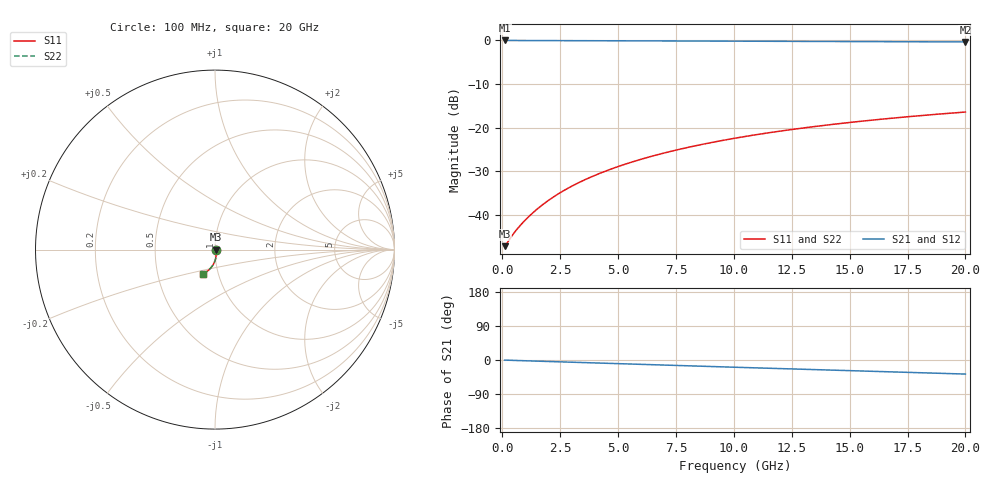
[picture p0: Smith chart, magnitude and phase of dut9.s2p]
! Touchstone file exported from HFSS 2026.1.0
!  File:  C:/ffzhzh/LocalFiles/Ansys_Project_Files/temp_train_TMRDL_9_1782879969_19016.aedt
!  Generated:  12:28:55 PM Jul  1, 2026
!  Design:  TMRDL
!  Project:  temp_train_TMRDL_9_1782879969_19016
! Variables:
!  h_bsmrdl = 2um
!  h_ox = 20um
!  h_rdl = 5um
!  h_sub = 80um
!  h_tmrdl = 4.3um
!  h_tsv = 80um
!  h_via = 3um
!  l_bsmrdl = 300um
!  l_sub = 1050.27um
!  l_tmrdl = 650.27um
!  m_sub = 200um
!  pitch = 14.65um
!  r_tsv = 6um
!  s_tmrdl = 10um
!  w_bsmrdl = 18um
!  w_sub = 500um
!  w_tmrdl = 12.6um
!  x_tsv_center1 = 656.57um
!  x_tsv_center2 = 974.57um
!  x_tsv_center3 = 1637.44um
!  x_tsv_center4 = 1955.44um
!  x_tsv_center5 = 2618.31um
!  x_tsv_center6 = 2936.31um
# GHz S MA R 50.000000
! Terminal data exported
! Port[1] = TM_RDL1_1_T1
! Port[2] = TM_RDL1_1_T2
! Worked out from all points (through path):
!   200 points, 100 MHz to 20 GHz, reference 50 ohm
!   highest |S21| = -0.04 dB at 100 MHz (marker M1); lowest = -0.4 dB at 20 GHz (marker M2)
!   group delay of S21, straight-line fit = 5.13 ps
!   lowest |S11| = -47.1 dB at 100 MHz (marker M3), VSWR 1.01, Z = 50.4 - j0.00079 ohm
!   |S11| at or under -10 dB: start of sweep to end of sweep
!   |S22| runs from -47.1 to -16.4 dB; largest |S21 - S12| = 3.4e-15
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0.1  0.004401 -0.1  0.9956 -0.2  0.9956 -0.2  0.004401 -0.1
! Gamma 0 0 0 0
! Port Impedance 50 0 50 0
0.2  0.004746 -1.9  0.9953 -0.5  0.9953 -0.5  0.004746 -1.9
0.5  0.006201 -15.3  0.994 -1.1  0.994 -1.1  0.006201 -15.3
0.7  0.007217 -25.1  0.9934 -1.5  0.9934 -1.5  0.007217 -25.1
1.1  0.00935 -40.5  0.9926 -2.2  0.9926 -2.2  0.00935 -40.5
1.5  0.01166 -50.9  0.9921 -3.0  0.9921 -3.0  0.01166 -50.9
1.9  0.01411 -58.0  0.9917 -3.8  0.9917 -3.8  0.01412 -58.0
2.4  0.01734 -64.3  0.9911 -4.7  0.9911 -4.7  0.01734 -64.3
2.9  0.0207 -68.8  0.9904 -5.7  0.9904 -5.7  0.0207 -68.8
3.5  0.02488 -72.8  0.9895 -6.9  0.9895 -6.9  0.02488 -72.8
4.2  0.02992 -76.3  0.9884 -8.2  0.9884 -8.2  0.02992 -76.3
5  0.03587 -79.6  0.987 -9.7  0.987 -9.7  0.03587 -79.6
5.9  0.04275 -82.8  0.9854 -11.4  0.9854 -11.4  0.04276 -82.8
6.8  0.04979 -85.6  0.9837 -13.1  0.9837 -13.1  0.04979 -85.6
7.6  0.05613 -87.9  0.9821 -14.6  0.9821 -14.6  0.05614 -87.9
8.4  0.06252 -90.1  0.9806 -16.1  0.9806 -16.1  0.06253 -90.1
10.1  0.07617 -94.4  0.9773 -19.2  0.9773 -19.2  0.07618 -94.4
11.7  0.08894 -98.3  0.9742 -22.1  0.9742 -22.1  0.08896 -98.3
13.4  0.1023 -102.3  0.9709 -25.2  0.9709 -25.2  0.1024 -102.3
15  0.1147 -105.8  0.9677 -28.1  0.9677 -28.1  0.1147 -105.8
16.7  0.1274 -109.5  0.9643 -31.2  0.9643 -31.2  0.1275 -109.5
20  0.151 -116.3  0.9575 -37.1  0.9575 -37.1  0.151 -116.3
